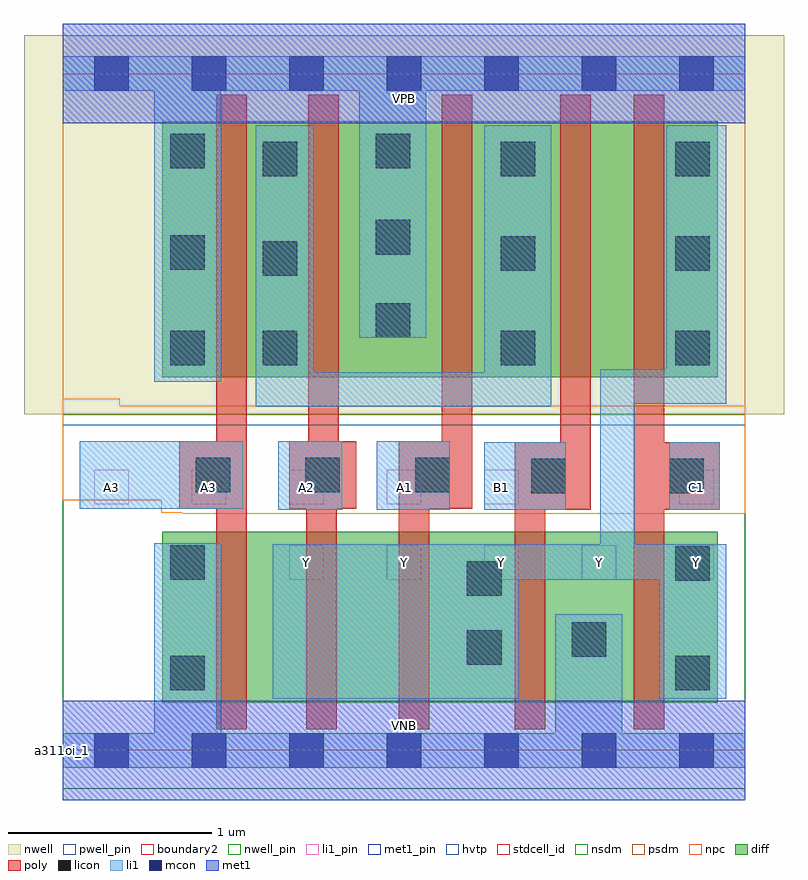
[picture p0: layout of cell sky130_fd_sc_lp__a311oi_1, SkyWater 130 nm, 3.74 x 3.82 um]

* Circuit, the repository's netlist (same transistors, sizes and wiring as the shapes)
* Copyright 2020 The SkyWater PDK Authors
*
* Licensed under the Apache License, Version 2.0 (the "License");
* you may not use this file except in compliance with the License.
* You may obtain a copy of the License at
*
*     https://www.apache.org/licenses/LICENSE-2.0
*
* Unless required by applicable law or agreed to in writing, software
* distributed under the License is distributed on an "AS IS" BASIS,
* WITHOUT WARRANTIES OR CONDITIONS OF ANY KIND, either express or implied.
* See the License for the specific language governing permissions and
* limitations under the License.
*
* SPDX-License-Identifier: Apache-2.0

.SUBCKT sky130_fd_sc_lp__a311oi_1 A1 A2 A3 B1 C1 VGND VNB VPB VPWR Y
*.PININFO A1:I A2:I A3:I B1:I C1:I VGND:I VNB:I VPB:I VPWR:I Y:O
MMPA0 pndA A1 VPWR VPB sky130_fd_pr__pfet_01v8_hvt m=1 w=1.26U l=0.15U mult=1 sa=0.265
+ sb=0.265 sd=0.28 area=0.063 perim=1.14
MMPA1 pndA A2 VPWR VPB sky130_fd_pr__pfet_01v8_hvt m=1 w=1.26U l=0.15U mult=1 sa=0.265
+ sb=0.265 sd=0.28 area=0.063 perim=1.14
MMPA2 pndA A3 VPWR VPB sky130_fd_pr__pfet_01v8_hvt m=1 w=1.26U l=0.15U mult=1 sa=0.265
+ sb=0.265 sd=0.28 area=0.063 perim=1.14
MMPB0 pndB B1 pndA VPB sky130_fd_pr__pfet_01v8_hvt m=1 w=1.26U l=0.15U mult=1 sa=0.265
+ sb=0.265 sd=0.28 area=0.063 perim=1.14
MMPC0 Y C1 pndB VPB sky130_fd_pr__pfet_01v8_hvt m=1 w=1.26U l=0.15U mult=1 sa=0.265
+ sb=0.265 sd=0.28 area=0.063 perim=1.14
MMNA0 Y A1 sndA1 VNB sky130_fd_pr__nfet_01v8 m=1 w=0.84U l=0.15U mult=1 sa=0.265
+ sb=0.265 sd=0.28 area=0.063 perim=1.14
MMNA1 sndA1 A2 sndA2 VNB sky130_fd_pr__nfet_01v8 m=1 w=0.84U l=0.15U mult=1 sa=0.265
+ sb=0.265 sd=0.28 area=0.063 perim=1.14
MMNA2 sndA2 A3 VGND VNB sky130_fd_pr__nfet_01v8 m=1 w=0.84U l=0.15U mult=1 sa=0.265
+ sb=0.265 sd=0.28 area=0.063 perim=1.14
MMNB0 Y B1 VGND VNB sky130_fd_pr__nfet_01v8 m=1 w=0.84U l=0.15U mult=1 sa=0.265
+ sb=0.265 sd=0.28 area=0.063 perim=1.14
MMNC0 Y C1 VGND VNB sky130_fd_pr__nfet_01v8 m=1 w=0.84U l=0.15U mult=1 sa=0.265
+ sb=0.265 sd=0.28 area=0.063 perim=1.14
.ENDS sky130_fd_sc_lp__a311oi_1

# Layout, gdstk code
import gdstk
lib = gdstk.Library(unit=1e-6, precision=1e-09)
def R(c, l, rs):  # rectangles x0, y0, x1, y1
    for r in rs: c.add(gdstk.rectangle(r[:2], r[2:], *l))
def A(c, l, x, y, w, h, nx, ny, dx, dy):  # array of equal rectangles
    R(c, l, [(x+i*dx, y+j*dy, x+i*dx+w, y+j*dy+h) for i in range(nx) for j in range(ny)])
def P(c, l, *ps):  # polygons
    for p in ps: c.add(gdstk.Polygon(p, *l))
nwell_pin = (64, 16)
nwell = (64, 20)
diff = (65, 20)
poly = (66, 20)
licon = (66, 44)
li1_pin = (67, 16)
li1 = (67, 20)
mcon = (67, 44)
met1_pin = (68, 16)
met1 = (68, 20)
hvtp = (78, 44)
stdcell_id = (81, 4)
nsdm = (93, 44)
psdm = (94, 20)
npc = (95, 20)
pwell_pin = (122, 16)
boundary2 = (236, 0)

sky130_fd_sc_lp__a311oi_ = lib.new_cell('sky130_fd_sc_lp__a311oi_1')
R(sky130_fd_sc_lp__a311oi_, nwell_pin, [(0,3.085,3.36,3.33)])
R(sky130_fd_sc_lp__a311oi_, nwell, [(-0.19,1.655,3.55,3.52)])
R(sky130_fd_sc_lp__a311oi_, diff, [(0.49,0.235,3.225,1.075), (0.49,1.835,3.225,3.095)])
P(sky130_fd_sc_lp__a311oi_, poly, [(3.235,1.515),(2.96,1.515),(2.96,3.225),(2.81,3.225),(2.81,0.105),(2.96,0.105),(2.96,1.185),(3.235,1.185)],
  [(0.905,3.225),(0.755,3.225),(0.755,1.52),(0.575,1.52),(0.575,1.19),(0.755,1.19),(0.755,0.105),(0.905,0.105)],
  [(1.445,1.52),(1.36,1.52),(1.36,3.225),(1.21,3.225),(1.21,1.52),(1.115,1.52),(1.115,1.19),(1.2,1.19),(1.2,0.105),(1.35,0.105),(1.35,1.19),(1.445,1.19)],
  [(2.015,3.225),(1.865,3.225),(1.865,1.52),(1.655,1.52),(1.655,0.105),(1.805,0.105),(1.805,1.19),(2.015,1.19)],
  [(2.6,3.225),(2.45,3.225),(2.45,1.515),(2.225,1.515),(2.225,0.105),(2.375,0.105),(2.375,1.185),(2.6,1.185)])
A(sky130_fd_sc_lp__a311oi_, licon, 0.655, 1.27, 0.17, 0.17, 3, 1, 0.54, 0)
A(sky130_fd_sc_lp__a311oi_, licon, 2.155, 1.895, 0.17, 0.17, 1, 3, 0, 0.465)
A(sky130_fd_sc_lp__a311oi_, licon, 3.015, 1.895, 0.17, 0.17, 1, 3, 0, 0.465)
R(sky130_fd_sc_lp__a311oi_, licon, [(0.53,0.295,0.7,0.465), (3.015,0.295,3.185,0.465), (1.99,0.42,2.16,0.59), (2.505,0.46,2.675,0.63), (1.99,0.76,2.16,0.93), (3.015,0.835,3.185,1.005), (0.53,0.84,0.7,1.01), (2.305,1.265,2.475,1.435), (2.985,1.265,3.155,1.435), (0.53,1.895,0.7,2.065), (0.985,1.895,1.155,2.065), (1.54,2.03,1.71,2.2), (0.985,2.335,1.155,2.505), (0.53,2.365,0.7,2.535), (1.54,2.44,1.71,2.61), (0.985,2.825,1.155,2.995), (0.53,2.865,0.7,3.035), (1.54,2.865,1.71,3.035)])
A(sky130_fd_sc_lp__a311oi_, li1_pin, 1.115, 0.84, 0.17, 0.17, 5, 1, 0.48, 0)
A(sky130_fd_sc_lp__a311oi_, li1_pin, 0.155, 1.21, 0.17, 0.17, 5, 1, 0.48, 0)
R(sky130_fd_sc_lp__a311oi_, li1_pin, [(3.035,1.21,3.205,1.38)])
R(sky130_fd_sc_lp__a311oi_, li1, [(1.06,1.185,1.375,1.52), (1.545,1.185,1.905,1.52), (2.075,1.185,2.475,1.515), (2.985,1.185,3.235,1.515), (0.085,1.19,0.89,1.52)])
P(sky130_fd_sc_lp__a311oi_, li1, [(3.36,0.085),(2.755,0.085),(2.755,0.67),(2.425,0.67),(2.425,0.085),(0.78,0.085),(0.78,1.02),(0.45,1.02),(0.45,0.085),(0,0.085),(0,-0.085),(3.36,-0.085)],
  [(3.265,1.015),(2.815,1.015),(2.815,1.705),(3.265,1.705),(3.265,3.075),(2.97,3.075),(2.97,1.875),(2.645,1.875),(2.645,1.015),(1.035,1.015),(1.035,0.255),(2.245,0.255),(2.245,0.84),(2.935,0.84),(2.935,0.255),(3.265,0.255)],
  [(3.36,3.415),(0,3.415),(0,3.245),(0.45,3.245),(0.45,1.815),(0.78,1.815),(0.78,3.245),(1.46,3.245),(1.46,2.03),(1.79,2.03),(1.79,3.245),(3.36,3.245)],
  [(2.405,3.075),(2.075,3.075),(2.075,1.86),(1.235,1.86),(1.235,3.075),(0.95,3.075),(0.95,1.69),(2.405,1.69)])
A(sky130_fd_sc_lp__a311oi_, mcon, 0.155, -0.085, 0.17, 0.17, 7, 2, 0.48, 3.33)
R(sky130_fd_sc_lp__a311oi_, met1_pin, [(0,0,3.36,0.245), (0,3.085,3.36,3.33)])
R(sky130_fd_sc_lp__a311oi_, met1, [(0,-0.245,3.36,0.245), (0,3.085,3.36,3.575)])
R(sky130_fd_sc_lp__a311oi_, hvtp, [(0,1.6,3.36,3.33)])
R(sky130_fd_sc_lp__a311oi_, stdcell_id, [(0,0,3.36,3.33)])
R(sky130_fd_sc_lp__a311oi_, nsdm, [(0,-0.19,3.36,1.655)])
R(sky130_fd_sc_lp__a311oi_, psdm, [(0,1.655,3.36,3.52)])
P(sky130_fd_sc_lp__a311oi_, npc, [(3.36,1.695),(0.28,1.695),(0.28,1.73),(0,1.73),(0,1.23),(0.485,1.23),(0.485,1.17),(0.59,1.17),(0.59,1.165),(3.36,1.165)])
R(sky130_fd_sc_lp__a311oi_, pwell_pin, [(0,0,3.36,0.245)])
R(sky130_fd_sc_lp__a311oi_, boundary2, [(0,0,3.36,3.33)])
sky130_fd_sc_lp__a311oi_.add(gdstk.Label('VNB', (1.68,0.123), layer=64, texttype=59))
sky130_fd_sc_lp__a311oi_.add(gdstk.Label('VPB', (1.68,3.208), layer=64, texttype=5))
sky130_fd_sc_lp__a311oi_.add(gdstk.Label('a311oi_1', (0,0), layer=83, texttype=44))
sky130_fd_sc_lp__a311oi_.add(gdstk.Label('VPWR', (1.68,3.208), layer=68, texttype=5))
sky130_fd_sc_lp__a311oi_.add(gdstk.Label('VGND', (1.68,0.123), layer=68, texttype=5))
sky130_fd_sc_lp__a311oi_.add(gdstk.Label('A1', (1.68,1.295), layer=67, texttype=5))
sky130_fd_sc_lp__a311oi_.add(gdstk.Label('Y', (2.16,0.925), layer=67, texttype=5))
sky130_fd_sc_lp__a311oi_.add(gdstk.Label('A2', (1.2,1.295), layer=67, texttype=5))
sky130_fd_sc_lp__a311oi_.add(gdstk.Label('A3', (0.72,1.295), layer=67, texttype=5))
sky130_fd_sc_lp__a311oi_.add(gdstk.Label('B1', (2.16,1.295), layer=67, texttype=5))
sky130_fd_sc_lp__a311oi_.add(gdstk.Label('C1', (3.12,1.295), layer=67, texttype=5))
sky130_fd_sc_lp__a311oi_.add(gdstk.Label('A3', (0.24,1.295), layer=67, texttype=5))
sky130_fd_sc_lp__a311oi_.add(gdstk.Label('Y', (3.12,0.925), layer=67, texttype=5))
sky130_fd_sc_lp__a311oi_.add(gdstk.Label('Y', (2.64,0.925), layer=67, texttype=5))
sky130_fd_sc_lp__a311oi_.add(gdstk.Label('Y', (1.2,0.925), layer=67, texttype=5))
sky130_fd_sc_lp__a311oi_.add(gdstk.Label('Y', (1.68,0.925), layer=67, texttype=5))

lib.write_gds('sky130_fd_sc_lp__a311oi_1.gds')
